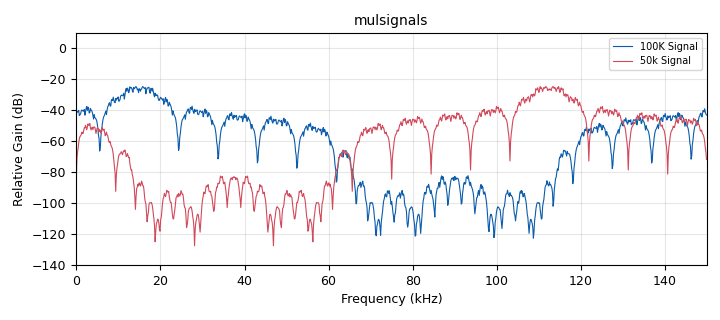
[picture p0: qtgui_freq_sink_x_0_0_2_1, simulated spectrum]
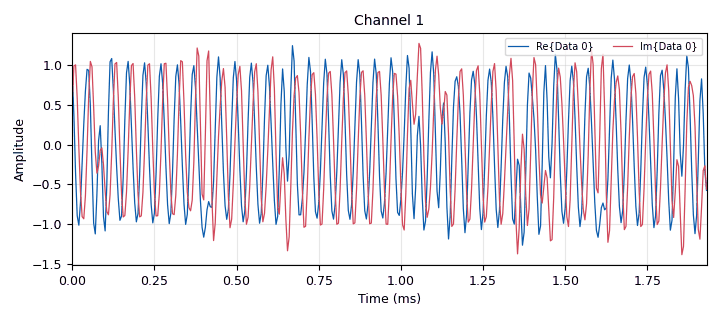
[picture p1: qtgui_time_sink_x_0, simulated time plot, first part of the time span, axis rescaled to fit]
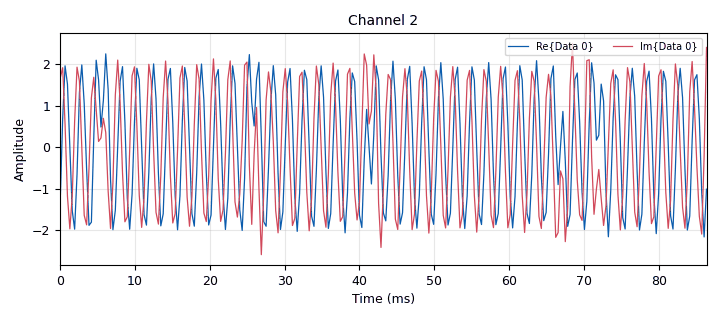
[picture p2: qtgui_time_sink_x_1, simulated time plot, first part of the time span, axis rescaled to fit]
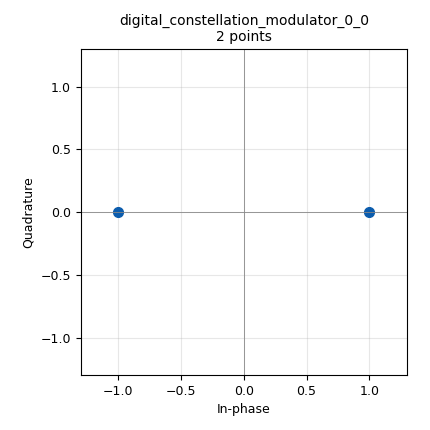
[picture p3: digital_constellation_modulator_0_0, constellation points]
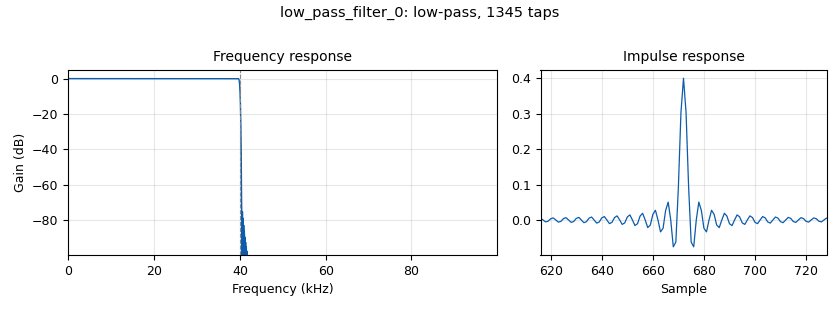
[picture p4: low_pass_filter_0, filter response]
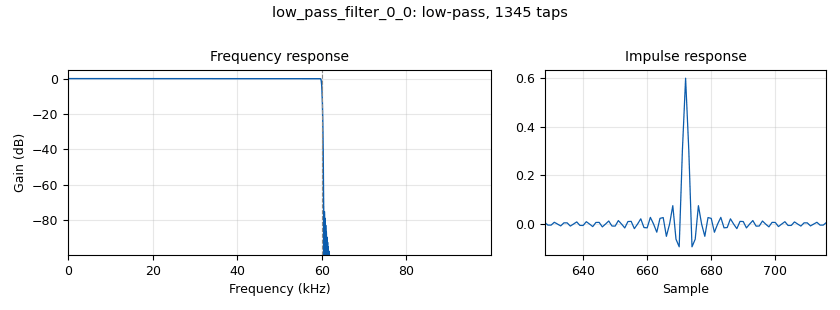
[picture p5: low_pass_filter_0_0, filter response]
options:
  parameters:
    author: bmgna
    generate_options: qt_gui
    id: untitled
    output_language: python
    title: selectioncombining
  states: {}

blocks:
- name: bpsk
  id: variable_constellation
  parameters:
    precision: '8'
    type: bpsk
  states: {}
- name: noise1
  id: variable_qtgui_range
  parameters:
    start: '0'
    step: '0.5'
    stop: '10'
    value: '0'
  states: {}
- name: noise2
  id: variable_qtgui_range
  parameters:
    start: '0'
    step: '0.5'
    stop: '10'
    value: '0'
  states: {}
- name: qpsk
  id: variable_constellation
  parameters:
    precision: '8'
    type: dqpsk
  states: {}
- name: rrc
  id: variable
  parameters:
    value: firdes.root_raised_cosine(1.0,samp_rate,samp_rate/2,.035,11*2)
  states: {}
- name: samp_rate
  id: variable
  parameters:
    value: 200e3
  states: {}
- name: variable_adaptive_algorithm_0
  id: variable_adaptive_algorithm
  parameters:
    cons: bpsk
    step_size: '.0001'
    type: lms
  states: {}
- name: analog_random_source_x_1
  id: analog_random_source_x
  parameters:
    max: '2'
    min: '0'
    num_samps: '1000'
    repeat: 'True'
    type: byte
  states: {}
- name: analog_sig_source_x_0
  id: analog_sig_source_x
  parameters:
    amp: '1'
    freq: 120e3
    offset: '0'
    phase: '0'
    samp_rate: samp_rate
    type: complex
    waveform: analog.GR_COS_WAVE
  states: {}
- name: analog_sig_source_x_0_0
  id: analog_sig_source_x
  parameters:
    amp: '1'
    freq: 50e3
    offset: '0'
    phase: '0'
    samp_rate: samp_rate
    type: complex
    waveform: analog.GR_COS_WAVE
  states: {}
- name: analog_sig_source_x_0_0_0
  id: analog_sig_source_x
  parameters:
    amp: '1'
    freq: 50e3
    offset: '0'
    phase: '0'
    samp_rate: samp_rate
    type: complex
    waveform: analog.GR_COS_WAVE
  states: {}
- name: analog_sig_source_x_0_1
  id: analog_sig_source_x
  parameters:
    amp: '1'
    freq: 100e3
    offset: '0'
    phase: '0'
    samp_rate: samp_rate
    type: complex
    waveform: analog.GR_COS_WAVE
  states: {}
- name: blocks_add_xx_0
  id: blocks_add_xx
  parameters:
    type: complex
  states: {}
- name: blocks_interleaved_char_to_complex_0
  id: blocks_interleaved_char_to_complex
  parameters:
    scale_factor: '1.0'
    vector_input: 'False'
  states: {state: disabled}
- name: blocks_multiply_xx_0
  id: blocks_multiply_xx
  parameters:
    type: complex
  states: {}
- name: blocks_multiply_xx_0_0
  id: blocks_multiply_xx
  parameters:
    type: complex
  states: {}
- name: blocks_multiply_xx_0_1
  id: blocks_multiply_xx
  parameters:
    type: complex
  states: {}
- name: blocks_multiply_xx_0_1_0
  id: blocks_multiply_xx
  parameters:
    type: complex
  states: {}
- name: blocks_throttle_0
  id: blocks_throttle
  parameters:
    samples_per_second: samp_rate
    type: complex
  states: {}
- name: blocks_throttle_0_0
  id: blocks_throttle
  parameters:
    samples_per_second: samp_rate
    type: complex
  states: {}
- name: channels_channel_model_0
  id: channels_channel_model
  parameters:
    epsilon: '1.0'
    freq_offset: '0.0'
    noise_voltage: noise1
    seed: '0'
    taps: '1'
  states: {}
- name: channels_channel_model_0_0
  id: channels_channel_model
  parameters:
    epsilon: '1.0'
    freq_offset: '0.0'
    noise_voltage: noise2
    seed: '0'
    taps: '2'
  states: {}
- name: digital_constellation_modulator_0_0
  id: digital_constellation_modulator
  parameters:
    constellation: bpsk
    differential: 'True'
    excess_bw: '0.35'
    samples_per_symbol: '2'
  states: {}
- name: digital_linear_equalizer_0
  id: digital_linear_equalizer
  parameters:
    alg: variable_adaptive_algorithm_0
    num_taps: '11'
    sps: '2'
  states: {state: disabled}
- name: digital_linear_equalizer_0_0
  id: digital_linear_equalizer
  parameters:
    alg: variable_adaptive_algorithm_0
    num_taps: '11'
    sps: '2'
  states: {}
- name: digital_linear_equalizer_0_1
  id: digital_linear_equalizer
  parameters:
    alg: variable_adaptive_algorithm_0
    num_taps: '11'
    sps: '2'
  states: {state: disabled}
- name: digital_mpsk_snr_est_cc_0
  id: digital_mpsk_snr_est_cc
  parameters:
    alpha: '0.001'
    tag_nsamples: '100'
    type: '0'
  states: {}
- name: digital_mpsk_snr_est_cc_1
  id: digital_mpsk_snr_est_cc
  parameters:
    alpha: '0.001'
    tag_nsamples: '100'
    type: '0'
  states: {}
- name: digital_probe_mpsk_snr_est_c_0
  id: digital_probe_mpsk_snr_est_c
  parameters:
    alpha: '0.001'
    msg_nsamples: '100'
    type: '0'
  states: {}
- name: digital_probe_mpsk_snr_est_c_1
  id: digital_probe_mpsk_snr_est_c
  parameters:
    alpha: '0.001'
    msg_nsamples: '100'
    type: '0'
  states: {}
- name: epy_block_0
  id: epy_block
  parameters:
    _source_code: |
      """
      Embedded Python Blocks:

      Each time this file is saved, GRC will instantiate the first class it finds
      to get ports and parameters of your block. The arguments to __init__  will
      be the parameters. All of them are required to have default values!
      """

      import numpy as np
      from gnuradio import gr
      import pmt

      from gnuradio import grc
      import inspect


      class blk(gr.sync_block):  # other base classes are basic_block, decim_block, interp_block
          """Embedded Python Block example - a simple multiply const"""

          def __init__(self):  # only default arguments here
              """arguments to this function show up as parameters in GRC"""
              gr.sync_block.__init__(
                  self,
                  name='Multiplexer',   # will show up in GRC
                  in_sig=[np.complex64,np.complex64],
                  out_sig=[np.complex64]
              )
              self.selectPortName1 = 'snr1'
              self.message_port_register_in(pmt.intern(self.selectPortName1))
              self.set_msg_handler(pmt.intern(self.selectPortName1), self.handle_msg_snr1)
              self.selectPortName2 = 'snr2'
              self.message_port_register_in(pmt.intern(self.selectPortName2))
              self.set_msg_handler(pmt.intern(self.selectPortName2), self.handle_msg_snr2)
              self.last_snr1 = 0
              self.last_snr2 = 0
              self.selector=1
              self.last_selector=0
              self.index=0;
              
          def handle_msg_snr1(self, msg):
              self.last_snr1=pmt.to_float(msg)
              if(self.last_snr1>self.last_snr2):
                  self.selector=0;
              else:
                  self.selector = 1;
                  #print(self.selector)
          
          def handle_msg_snr2(self, msg):
              self.last_snr2=pmt.to_float(msg)
              if(self.last_snr2<self.last_snr1):
                  self.selector=0;
              else:
                  self.selector = 1;
                  #print(self.selector)
              
            

          def work(self, input_items, output_items):
              """example: multiply with constant"""
              output_items[0][:] = input_items[self.selector]
              return len(output_items[0])
  states: {}
- name: low_pass_filter_0
  id: low_pass_filter
  parameters:
    cutoff_freq: 40e3
    gain: '1'
    interp: '1'
    samp_rate: samp_rate
    type: interp_fir_filter_ccf
    width: '500'
    win: window.WIN_BLACKMAN
  states: {}
- name: low_pass_filter_0_0
  id: low_pass_filter
  parameters:
    cutoff_freq: 60e3
    gain: '1'
    interp: '1'
    samp_rate: samp_rate
    type: interp_fir_filter_ccf
    width: '500'
    win: window.WIN_BLACKMAN
  states: {}
- name: qtgui_const_sink_x_0
  id: qtgui_const_sink_x
  parameters:
    name: channel2
    size: '1024'
    type: complex
  states: {state: disabled}
- name: qtgui_const_sink_x_1
  id: qtgui_const_sink_x
  parameters:
    name: recieved1
    size: '1024'
    type: complex
  states: {state: disabled}
- name: qtgui_const_sink_x_1_0
  id: qtgui_const_sink_x
  parameters:
    name: RX CONSTELLATION
    size: '1024'
    type: complex
  states: {}
- name: qtgui_freq_sink_x_0
  id: qtgui_freq_sink_x
  parameters:
    bw: '150000'
    fc: '50000'
    fftsize: '1024'
    name: '"RX Signal"'
    type: complex
  states: {state: disabled}
- name: qtgui_freq_sink_x_0_0
  id: qtgui_freq_sink_x
  parameters:
    bw: samp_rate
    fc: '1000'
    fftsize: '1024'
    name: messagesignal
    type: complex
  states: {state: disabled}
- name: qtgui_freq_sink_x_0_0_2
  id: qtgui_freq_sink_x
  parameters:
    bw: samp_rate
    fc: '1000'
    fftsize: '1024'
    name: signal1
    type: complex
  states: {state: disabled}
- name: qtgui_freq_sink_x_0_0_2_1
  id: qtgui_freq_sink_x
  parameters:
    average: '0.1'
    bw: '150000'
    fc: '75000'
    fftsize: '1024'
    label1: '"100K Signal"'
    label2: '"50k Signal"'
    name: mulsignals
    nconnections: '2'
    type: complex
  states: {}
- name: qtgui_freq_sink_x_0_0_2_1_0
  id: qtgui_freq_sink_x
  parameters:
    bw: '150000'
    fc: '75000'
    fftsize: '1024'
    name: addsignal1
    type: complex
  states: {state: disabled}
- name: qtgui_freq_sink_x_0_0_2_1_1
  id: qtgui_freq_sink_x
  parameters:
    average: '0.1'
    bw: samp_rate
    fc: '1000'
    fftsize: '1024'
    name: recsignal2
    type: complex
  states: {state: disabled}
- name: qtgui_freq_sink_x_0_0_2_1_2
  id: qtgui_freq_sink_x
  parameters:
    average: '0.1'
    bw: samp_rate
    fc: '1000'
    fftsize: '1024'
    name: recsg1
    type: complex
  states: {state: disabled}
- name: qtgui_freq_sink_x_0_0_2_1_2_0
  id: qtgui_freq_sink_x
  parameters:
    average: '0.1'
    bw: samp_rate
    fc: '1000'
    fftsize: '1024'
    name: recsglpf1
    type: complex
  states: {state: disabled}
- name: qtgui_freq_sink_x_0_0_2_1_2_1
  id: qtgui_freq_sink_x
  parameters:
    average: '0.1'
    bw: samp_rate
    fc: '1000'
    fftsize: '1024'
    name: recsglpf2
    type: complex
  states: {state: disabled}
- name: qtgui_freq_sink_x_0_0_2_2
  id: qtgui_freq_sink_x
  parameters:
    bw: samp_rate
    fc: '1000'
    fftsize: '1024'
    name: mulsignal2
    type: complex
  states: {state: disabled}
- name: qtgui_freq_sink_x_0_1
  id: qtgui_freq_sink_x
  parameters:
    bw: '150000'
    fc: '100000'
    fftsize: '1024'
    name: '"RX Signal"'
    type: complex
  states: {state: disabled}
- name: qtgui_freq_sink_x_0_1_0
  id: qtgui_freq_sink_x
  parameters:
    bw: '150000'
    fc: '100000'
    fftsize: '1024'
    name: '"RX Signal"'
    type: complex
  states: {}
- name: qtgui_time_sink_x_0
  id: qtgui_time_sink_x
  parameters:
    name: '"Channel 1"'
    size: '1024'
    srate: samp_rate
    type: complex
  states: {}
- name: qtgui_time_sink_x_1
  id: qtgui_time_sink_x
  parameters:
    name: '"Channel 2"'
    size: '1024'
    srate: samp_rate/64
    type: complex
  states: {}
- name: qtgui_waterfall_sink_x_0
  id: qtgui_waterfall_sink_x
  parameters:
    bw: '150000'
    fc: '50000'
    fftsize: '1024'
    name: '"RX Signal"'
    type: complex
  states: {state: disabled}
- name: qtgui_waterfall_sink_x_0_0
  id: qtgui_waterfall_sink_x
  parameters:
    bw: '150000'
    fc: '100000'
    fftsize: '1024'
    name: '"RX Signal"'
    type: complex
  states: {state: disabled}
- name: qtgui_waterfall_sink_x_0_0_0
  id: qtgui_waterfall_sink_x
  parameters:
    bw: '150000'
    fc: '100000'
    fftsize: '1024'
    name: '"RX Signal"'
    type: complex
  states: {}

connections:
- [analog_random_source_x_1, '0', blocks_interleaved_char_to_complex_0, '0']
- [analog_random_source_x_1, '0', digital_constellation_modulator_0_0, '0']
- [analog_sig_source_x_0, '0', blocks_multiply_xx_0, '0']
- [analog_sig_source_x_0_0, '0', blocks_multiply_xx_0_0, '1']
- [analog_sig_source_x_0_0_0, '0', blocks_multiply_xx_0_1_0, '1']
- [analog_sig_source_x_0_1, '0', blocks_multiply_xx_0_1, '0']
- [blocks_add_xx_0, '0', channels_channel_model_0, '0']
- [blocks_add_xx_0, '0', channels_channel_model_0_0, '0']
- [blocks_add_xx_0, '0', qtgui_freq_sink_x_0_0_2_1_0, '0']
- [blocks_interleaved_char_to_complex_0, '0', qtgui_freq_sink_x_0_0, '0']
- [blocks_multiply_xx_0, '0', blocks_throttle_0, '0']
- [blocks_multiply_xx_0, '0', qtgui_freq_sink_x_0_0_2_1, '0']
- [blocks_multiply_xx_0_0, '0', blocks_throttle_0_0, '0']
- [blocks_multiply_xx_0_0, '0', qtgui_freq_sink_x_0_0_2_1, '1']
- [blocks_multiply_xx_0_0, '0', qtgui_freq_sink_x_0_0_2_2, '0']
- [blocks_multiply_xx_0_1, '0', low_pass_filter_0, '0']
- [blocks_multiply_xx_0_1, '0', qtgui_freq_sink_x_0_0_2_1_2, '0']
- [blocks_multiply_xx_0_1_0, '0', low_pass_filter_0_0, '0']
- [blocks_multiply_xx_0_1_0, '0', qtgui_freq_sink_x_0_0_2_1_1, '0']
- [blocks_throttle_0, '0', blocks_add_xx_0, '0']
- [blocks_throttle_0_0, '0', blocks_add_xx_0, '1']
- [channels_channel_model_0, '0', blocks_multiply_xx_0_1, '1']
- [channels_channel_model_0_0, '0', blocks_multiply_xx_0_1_0, '0']
- [digital_constellation_modulator_0_0, '0', blocks_multiply_xx_0, '1']
- [digital_constellation_modulator_0_0, '0', blocks_multiply_xx_0_0, '0']
- [digital_constellation_modulator_0_0, '0', qtgui_freq_sink_x_0_0_2, '0']
- [digital_linear_equalizer_0, '0', qtgui_const_sink_x_1, '0']
- [digital_linear_equalizer_0, '0', qtgui_freq_sink_x_0_1, '0']
- [digital_linear_equalizer_0, '0', qtgui_waterfall_sink_x_0_0, '0']
- [digital_linear_equalizer_0_0, '0', qtgui_const_sink_x_1_0, '0']
- [digital_linear_equalizer_0_0, '0', qtgui_freq_sink_x_0_1_0, '0']
- [digital_linear_equalizer_0_0, '0', qtgui_waterfall_sink_x_0_0_0, '0']
- [digital_linear_equalizer_0_1, '0', qtgui_const_sink_x_0, '0']
- [digital_linear_equalizer_0_1, '0', qtgui_freq_sink_x_0, '0']
- [digital_linear_equalizer_0_1, '0', qtgui_waterfall_sink_x_0, '0']
- [digital_mpsk_snr_est_cc_0, '0', qtgui_time_sink_x_1, '0']
- [digital_mpsk_snr_est_cc_1, '0', qtgui_time_sink_x_0, '0']
- [digital_probe_mpsk_snr_est_c_0, snr, epy_block_0, snr1]
- [digital_probe_mpsk_snr_est_c_1, snr, epy_block_0, snr2]
- [epy_block_0, '0', digital_linear_equalizer_0, '0']
- [epy_block_0, '0', digital_linear_equalizer_0_0, '0']
- [epy_block_0, '0', digital_linear_equalizer_0_1, '0']
- [low_pass_filter_0, '0', digital_mpsk_snr_est_cc_1, '0']
- [low_pass_filter_0, '0', digital_probe_mpsk_snr_est_c_0, '0']
- [low_pass_filter_0, '0', epy_block_0, '0']
- [low_pass_filter_0, '0', qtgui_freq_sink_x_0_0_2_1_2_0, '0']
- [low_pass_filter_0_0, '0', digital_mpsk_snr_est_cc_0, '0']
- [low_pass_filter_0_0, '0', digital_probe_mpsk_snr_est_c_1, '0']
- [low_pass_filter_0_0, '0', epy_block_0, '1']
- [low_pass_filter_0_0, '0', qtgui_freq_sink_x_0_0_2_1_2_1, '0']

metadata:
  file_format: 1
  grc_version: 3.10.5.0
